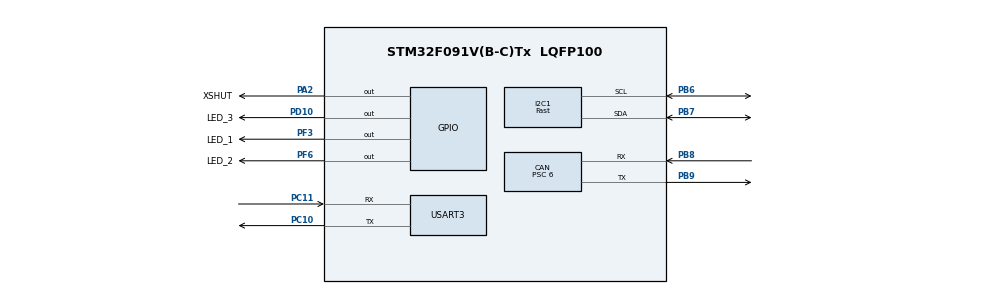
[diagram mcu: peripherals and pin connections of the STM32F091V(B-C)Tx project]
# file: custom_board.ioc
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CAN.BS1=CAN_BS1_11TQ
CAN.BS2=CAN_BS2_4TQ
CAN.CalculateBaudRate=500000
CAN.CalculateTimeBit=2000
CAN.CalculateTimeQuantum=125.0
CAN.Prescaler=6
I2C1.I2C_Fall_Time=50
I2C1.I2C_Rise_Time=100
I2C1.I2C_Speed_Mode=I2C_Fast
I2C1.OwnAddress=0
I2C1.Timing=0x0010020A
IWDG.Prescaler=IWDG_PRESCALER_32
Mcu.Family=STM32F0
Mcu.Name=STM32F091V(B-C)Tx
Mcu.Package=LQFP100
NVIC.CEC_CAN_IRQn=true\:0\:0\:false\:false\:true\:true\:true\:true
NVIC.I2C1_IRQn=true\:0\:0\:false\:false\:true\:true\:true\:true
NVIC.TIM6_DAC_IRQn=true\:0\:0\:false\:false\:true\:true\:true\:true
NVIC.USART3_8_IRQn=true\:0\:0\:false\:false\:true\:true\:true\:true
NVIC.WWDG_IRQn=true\:0\:0\:false\:false\:true\:true\:true\:true
PA2.GPIO_Label=XSHUT
PA2.GPIO_PuPd=GPIO_PULLDOWN
PA2.Signal=GPIO_Output
PB6.Mode=I2C
PB6.Signal=I2C1_SCL
PB7.Mode=I2C
PB7.Signal=I2C1_SDA
PB8.Mode=CAN_Activate
PB8.Signal=CAN_RX
PB9.Mode=CAN_Activate
PB9.Signal=CAN_TX
PC10.Mode=Asynchronous
PC10.Signal=USART3_TX
PC11.Mode=Asynchronous
PC11.Signal=USART3_RX
PC14OSC32_IN.Mode=LSE-External-Oscillator
PC14OSC32_IN.Signal=RCC_OSC32_IN
PC15OSC32_OUT.Mode=LSE-External-Oscillator
PC15OSC32_OUT.Signal=RCC_OSC32_OUT
PD10.GPIO_Label=LED_3
PD10.GPIO_PuPd=GPIO_PULLDOWN
PD10.Signal=GPIO_Output
PF0-OSC_IN.Mode=HSE-External-Oscillator
PF0-OSC_IN.Signal=RCC_OSC_IN
PF1-OSC_OUT.Mode=HSE-External-Oscillator
PF1-OSC_OUT.Signal=RCC_OSC_OUT
PF3.GPIO_Label=LED_1
PF3.GPIO_PuPd=GPIO_PULLDOWN
PF3.Signal=GPIO_Output
PF6.GPIO_Label=LED_2
PF6.GPIO_PuPd=GPIO_PULLDOWN
PF6.Signal=GPIO_Output
ProjectManager.HeapSize=0x200
ProjectManager.StackSize=0x400
ProjectManager.TargetToolchain=Makefile
RCC.AHBFreq_Value=48000000
RCC.APB1Freq_Value=48000000
RCC.APB1TimFreq_Value=48000000
RCC.HCLKFreq_Value=48000000
RCC.HSE_VALUE=24000000
RCC.PLLSourceVirtual=RCC_PLLSOURCE_HSE
RCC.SYSCLKFreq_VALUE=48000000
RCC.SYSCLKSource=RCC_SYSCLKSOURCE_PLLCLK
TIM6.Period=1000-1
TIM6.Prescaler=48-1
USART3.VirtualMode-Asynchronous=VM_ASYNC
VP_IWDG_VS_IWDG.Mode=IWDG_Activate
VP_TIM6_VS_ClockSourceINT.Mode=Enable_Timer
VP_WWDG_VS_WWDG.Mode=WWDG_Activate
WWDG.Counter=120
WWDG.Prescaler=WWDG_PRESCALER_8
WWDG.Window=100
board=custom

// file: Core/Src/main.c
/* USER CODE BEGIN Header */
/**
  ******************************************************************************
  * @file           : main.c
  * @brief          : Main program body
  ******************************************************************************
  * @attention
  *
  * Copyright (c) 2023 STMicroelectronics.
  * All rights reserved.
  *
  * This software is licensed under terms that can be found in the LICENSE file
  * in the root directory of this software component.
  * If no LICENSE file comes with this software, it is provided AS-IS.
  *
  ******************************************************************************
  */
/* USER CODE END Header */
#include "main.h"
#include "can.h"
#include "i2c.h"
#include "iwdg.h"
#include "tim.h"
#include "usart.h"
#include "gpio.h"

/* USER CODE BEGIN Includes */
#include <stdio.h>
#include <stdbool.h>
#include "can.h"
#include "timer_control.h"
#include "usart.h"
#include "tof.h"
/* USER CODE END Includes */

void SystemClock_Config(void);

int main(void)
{

  /* MCU Configuration--------------------------------------------------------*/

  /* Reset of all peripherals, Initializes the Flash interface and the Systick. */
  HAL_Init();

  /* Configure the system clock */
  SystemClock_Config();

  /* Initialize all configured peripherals */
  MX_GPIO_Init();
  MX_USART3_UART_Init();
  MX_TIM6_Init();
  MX_CAN_Init();
  MX_I2C1_Init();
  MX_IWDG_Init();
  /* USER CODE BEGIN 2 */
  LL_GPIO_SetOutputPin(LED_2_GPIO_Port, LED_2_Pin);

  setbuf(stdout, NULL);
  printf("\r\n\r\n\r\n" DEBUG_COLOR_MAGENTA "===== Hello, this is a custom board LL example =====\r\n" DEBUG_COLOR_RESET);

  debug_reset_cause();
  // tof_init();
  /* USER CODE END 2 */

  /* Infinite loop */
  /* USER CODE BEGIN WHILE */
  while (1)
  {
    can_idle();
    timer_control_idle();
    uart_idle();
    tof_receive_data();
    /* USER CODE END WHILE */

  }
}

void SystemClock_Config(void)
{
  LL_FLASH_SetLatency(LL_FLASH_LATENCY_1);
  while(LL_FLASH_GetLatency() != LL_FLASH_LATENCY_1)
  {
  }
  LL_RCC_HSE_Enable();

   /* Wait till HSE is ready */
  while(LL_RCC_HSE_IsReady() != 1)
  {

  }
  LL_RCC_HSI_Enable();

   /* Wait till HSI is ready */
  while(LL_RCC_HSI_IsReady() != 1)
  {

  }
  LL_RCC_HSI_SetCalibTrimming(16);
  LL_RCC_LSI_Enable();

   /* Wait till LSI is ready */
  while(LL_RCC_LSI_IsReady() != 1)
  {

  }
  LL_RCC_PLL_ConfigDomain_SYS(LL_RCC_PLLSOURCE_HSE, LL_RCC_PLL_MUL_2, LL_RCC_PREDIV_DIV_1);
  LL_RCC_PLL_Enable();

   /* Wait till PLL is ready */
  while(LL_RCC_PLL_IsReady() != 1)
  {

  }
  LL_RCC_SetAHBPrescaler(LL_RCC_SYSCLK_DIV_1);
  LL_RCC_SetAPB1Prescaler(LL_RCC_APB1_DIV_1);
  LL_RCC_SetSysClkSource(LL_RCC_SYS_CLKSOURCE_PLL);

   /* Wait till System clock is ready */
  while(LL_RCC_GetSysClkSource() != LL_RCC_SYS_CLKSOURCE_STATUS_PLL)
  {

  }
  LL_SetSystemCoreClock(48000000);

   /* Update the time base */
  if (HAL_InitTick (TICK_INT_PRIORITY) != HAL_OK)
  {
    Error_Handler();
  }
  LL_RCC_SetUSARTClockSource(LL_RCC_USART3_CLKSOURCE_PCLK1);
  LL_RCC_SetI2CClockSource(LL_RCC_I2C1_CLKSOURCE_HSI);
}

void Error_Handler(void)
{
  __disable_irq();
  while (1)
  {
  }
}

#ifdef  USE_FULL_ASSERT
/**
  * @brief  Reports the name of the source file and the source line number
  *         where the assert_param error has occurred.
  * @param  file: pointer to the source file name
  * @param  line: assert_param error line source number
  * @retval None
  */
void assert_failed(uint8_t *file, uint32_t line)
{
  /* USER CODE BEGIN 6 */
  /* User can add his own implementation to report the file name and line number,
     ex: printf("Wrong parameters value: file %s on line %d\r\n", file, line) */

    // printf("Wrong parameters value: file %s on line %ld\r\n", file, line);
    debug_log_error((char*)file, NULL, line);
    while (1)
    {
      // uart_idle();
    }
  /* USER CODE END 6 */
}
#endif /* USE_FULL_ASSERT */
